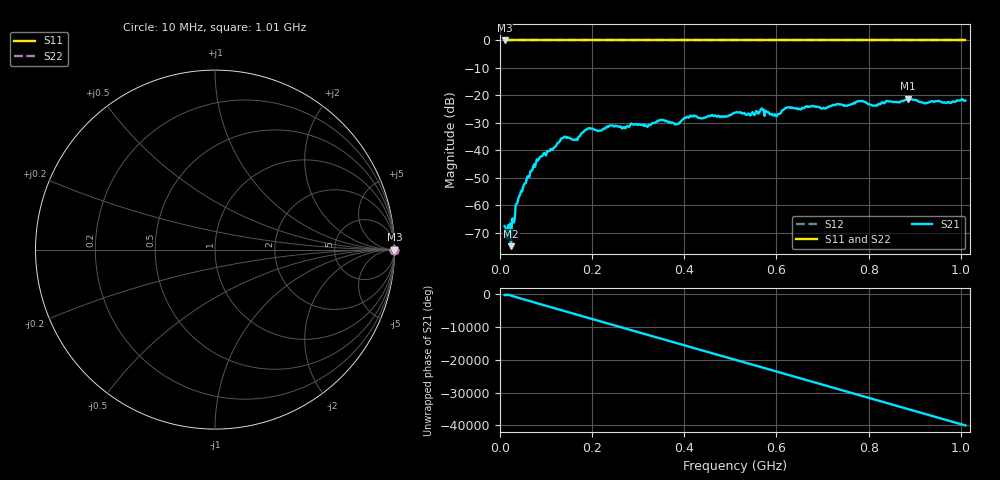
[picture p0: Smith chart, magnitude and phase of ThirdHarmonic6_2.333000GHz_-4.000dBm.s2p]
! 8/17/2025 3:23:27 AM
! C:\ANRITSUVNA\TEMP\TEMP.S2P
! CHANNEL.1
! TR.MEASUREMENT
! RAW.DATA
! RF.CORRECTION.OFF
! AVERAGING.OFF
! IF.BANDWIDTH: 5KHZ
! SWEEPTYPE:  FREQ.SWEEP(Linear)
! Reference Plane Port Info
! PORT:  PORT1  PORT2
! DISTANCE:  0  m  0  m
! TIME:  0  s  0  s
! PHASE.OFFSET:  0  deg.  0  deg.
! LOSS:  0  dB  0  dB
! REF.LOSS:  0  dB  0  dB
! REF.FREQ:  0  Hz  0  Hz
! Power Info
! POWER:  -20  dBm  -20  dBm
! EFF.POWER:  -20  dBm  -20  dBm
! SOURCE.ATTEN:  0  dB  0  dB
! TEST.ATTEN:  0  dB  0  dB
# GHZ S RI R 50.0
! FREQ.GHZ  S11RE  S11IM  S21RE  S21IM  S12RE  S12IM  S22RE  S22IM
!; PortSelection: Port_12
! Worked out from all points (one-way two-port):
!   501 points, 10 MHz to 1.01 GHz, reference 50 ohm
!   highest |S21| = -21.26 dB at 886 MHz (marker M1); lowest = -74.9 dB at 24 MHz (marker M2)
!   lowest |S11| = 0.0 dB at 10 MHz (marker M3)
!   |S11| at or under -10 dB: nowhere
!   |S22| runs from 0.0 to 0.0 dB; largest |S21 - S12| = 1.1
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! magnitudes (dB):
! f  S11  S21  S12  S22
! 10 MHz  0.0  -67.7  0.0  0.0
! 20 MHz  0.0  -69.9  0.0  0.0
! 24 MHz  0.0  -74.9  0.0  0.0
! 28 MHz  0.0  -64.9  0.0  0.0
! 30 MHz  0.0  -66.4  0.0  0.0
! 42 MHz  0.0  -56.7  0.0  0.0
! 82 MHz  0.0  -43.7  0.0  0.0
! 136 MHz  0.0  -35.6  0.0  0.0
! 164 MHz  0.0  -36.2  0.0  0.0
! 178 MHz  0.0  -33.7  0.0  0.0
! 192 MHz  0.0  -32.0  0.0  0.0
! 344 MHz  0.0  -29.4  0.0  0.0
! 384 MHz  0.0  -30.5  0.0  0.0
! 416 MHz  0.0  -27.7  0.0  0.0
! 510 MHz  0.0  -26.3  0.0  0.0
! 568 MHz  0.0  -24.8  0.0  0.0
! 598 MHz  0.0  -27.3  0.0  0.0
! 624 MHz  0.0  -24.4  0.0  0.0
! 678 MHz  0.0  -23.8  0.0  0.0
! 844 MHz  0.0  -22.2  0.0  0.0
! 886 MHz  0.0  -21.3  0.0  0.0
! 1.01 GHz  0.0  -21.9  0.0  0.0
